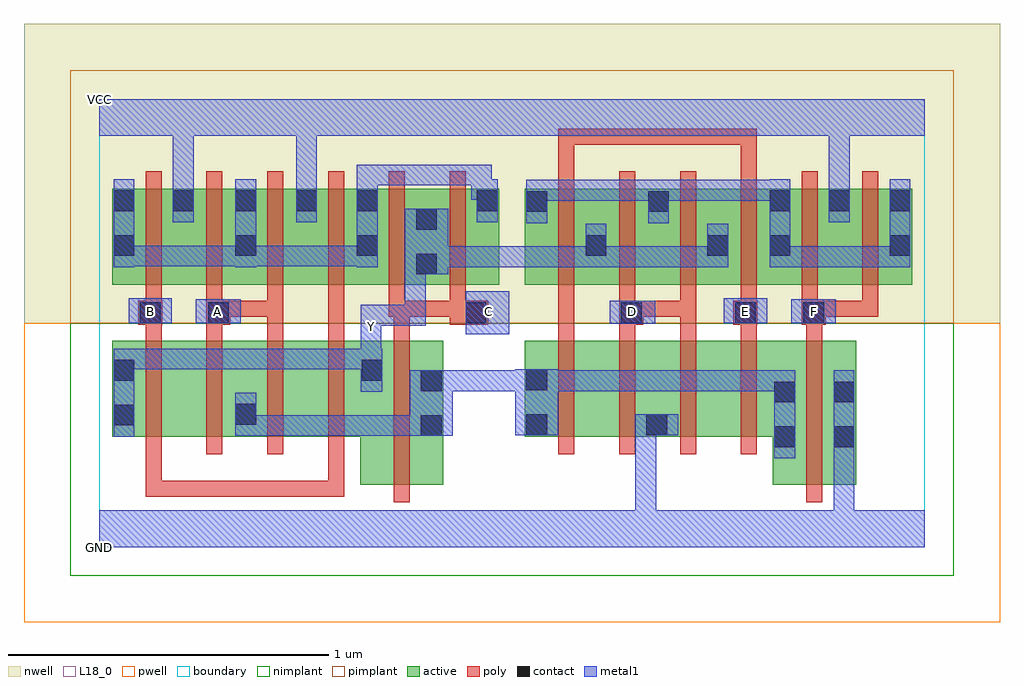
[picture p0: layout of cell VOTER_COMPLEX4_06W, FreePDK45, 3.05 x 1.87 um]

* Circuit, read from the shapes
.subckt VOTER_COMPLEX4_06W A B C D E F GND VCC Y
M1 n1 B Y VSUBS nfet w=0.3u l=0.05u
M2 n2 A n1 VSUBS nfet w=0.3u l=0.05u
M3 n3 A n2 VSUBS nfet w=0.3u l=0.05u
M4 Y B n3 VSUBS nfet w=0.3u l=0.05u
M5 n2 C Y VSUBS nfet w=0.45u l=0.05u
M6 n4 E n2 VSUBS nfet w=0.3u l=0.05u
M7 GND D n4 VSUBS nfet w=0.3u l=0.05u
M8 n5 D GND VSUBS nfet w=0.3u l=0.05u
M9 n2 E n5 VSUBS nfet w=0.3u l=0.05u
M10 GND F n2 VSUBS nfet w=0.45u l=0.05u
M11 VCC B n6 n7 pfet w=0.3u l=0.05u m=2
M12 n6 A VCC n7 pfet w=0.3u l=0.05u m=2
M13 Y C n6 n7 pfet w=0.3u l=0.05u m=2
M14 Y E n8 n7 pfet w=0.3u l=0.05u m=2
M15 n8 D Y n7 pfet w=0.3u l=0.05u m=2
M16 VCC F n8 n7 pfet w=0.3u l=0.05u m=2
.ends

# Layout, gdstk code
import gdstk
lib = gdstk.Library(unit=1e-6, precision=1e-09)
def R(c, l, rs):  # rectangles x0, y0, x1, y1
    for r in rs: c.add(gdstk.rectangle(r[:2], r[2:], *l))
def A(c, l, x, y, w, h, nx, ny, dx, dy):  # array of equal rectangles
    R(c, l, [(x+i*dx, y+j*dy, x+i*dx+w, y+j*dy+h) for i in range(nx) for j in range(ny)])
active = (1, 0)
pwell = (2, 0)
nwell = (3, 0)
nimplant = (4, 0)
pimplant = (5, 0)
poly = (9, 0)
contact = (10, 0)
metal1 = (11, 0)
L18_0 = (18, 0)
boundary = (235, 0)

voter_complex4_06w = lib.new_cell('VOTER_COMPLEX4_06W')
A(voter_complex4_06w, active, 0.42, 0.82, 0.075, 0.3, 3, 1, 0.19, 0)
A(voter_complex4_06w, active, 1.33, 0.82, 0.26, 0.3, 3, 1, 0.38, 0)
R(voter_complex4_06w, active, [(0.815,0.195,1.075,0.645), (1,0.195,1.075,0.645), (2.105,0.195,2.365,0.645), (2.29,0.195,2.365,0.645), (2.105,0.2,2.18,0.522), (0.815,0.33,0.89,0.59), (0.04,0.345,0.265,0.645), (0.04,0.345,0.115,0.645), (0.265,0.345,0.495,0.645), (0.42,0.345,0.645,0.645), (0.42,0.345,0.495,0.517), (0.645,0.345,0.89,0.645), (1.33,0.345,1.555,0.645), (1.33,0.345,1.405,0.645), (1.555,0.345,1.78,0.645), (1.705,0.345,1.935,0.645), (1.705,0.345,1.78,0.572), (1.935,0.345,2.18,0.645), (0.04,0.82,0.115,1.12), (0.04,0.82,0.3,1.12), (0.225,0.82,0.495,1.12), (0.42,0.82,0.685,1.12), (0.61,0.82,0.875,1.12), (0.8,0.82,1.06,1.12), (0.985,0.82,1.25,1.12), (1.175,0.82,1.25,1.12), (1.33,0.82,1.405,1.117), (1.515,0.82,1.785,1.12), (1.71,0.82,1.785,1.12), (1.895,0.82,2.165,1.12), (2.09,0.82,2.165,1.12), (2.275,0.82,2.54,1.12), (2.465,0.82,2.54,1.12), (0.225,0.827,0.3,1.12), (0.985,0.847,1.06,1.062), (2.275,0.852,2.35,1.12), (1.515,0.905,1.59,1.055), (1.895,0.905,1.97,1.055)])
R(voter_complex4_06w, pwell, [(-0.235,-0.235,2.815,0.7)])
R(voter_complex4_06w, nwell, [(-0.235,0.7,2.815,1.635)])
R(voter_complex4_06w, nimplant, [(-0.09,-0.09,2.67,0.7)])
R(voter_complex4_06w, pimplant, [(-0.09,0.7,2.67,1.49)])
A(voter_complex4_06w, poly, 0.145, 0.29, 0.05, 0.41, 4, 1, 0.19, 0)
A(voter_complex4_06w, poly, 1.435, 0.29, 0.05, 0.41, 4, 1, 0.19, 0)
A(voter_complex4_06w, poly, 0.145, 0.72, 0.05, 0.095, 3, 1, 0.19, 0)
A(voter_complex4_06w, poly, 1.435, 0.72, 0.05, 0.095, 6, 1, 0.19, 0)
A(voter_complex4_06w, poly, 0.145, 0.765, 0.05, 0.41, 6, 1, 0.19, 0)
A(voter_complex4_06w, poly, 1.435, 0.765, 0.05, 0.41, 6, 1, 0.19, 0)
R(voter_complex4_06w, poly, [(0.92,0.14,0.97,0.7), (2.21,0.14,2.26,0.7), (0.145,0.157,0.195,0.207), (0.145,0.157,0.195,0.207), (0.145,0.157,0.195,0.207), (0.145,0.157,0.195,0.34), (0.145,0.157,0.442,0.207), (0.392,0.157,0.442,0.207), (0.392,0.157,0.442,0.207), (0.392,0.157,0.442,0.207), (0.392,0.157,0.632,0.207), (0.582,0.157,0.632,0.207), (0.582,0.157,0.765,0.207), (0.715,0.157,0.765,0.207), (0.715,0.157,0.765,0.207), (0.715,0.157,0.765,0.207), (0.715,0.157,0.765,0.34), (0.145,0.65,0.195,0.745), (0.335,0.65,0.385,0.745), (0.525,0.65,0.575,0.77), (0.715,0.65,0.765,0.745), (0.92,0.65,0.97,0.77), (1.435,0.65,1.485,0.77), (1.625,0.65,1.675,0.745), (1.815,0.65,1.865,0.77), (2.005,0.65,2.055,0.745), (2.21,0.65,2.26,0.745), (0.122,0.695,0.197,0.77), (0.335,0.695,0.41,0.77), (0.715,0.695,0.765,0.745), (0.715,0.695,0.765,0.815), (1.095,0.695,1.215,0.77), (1.625,0.695,1.7,0.77), (1.982,0.695,2.057,0.77), (2.195,0.695,2.27,0.77), (0.36,0.72,0.41,0.77), (0.36,0.72,0.41,0.77), (0.36,0.72,0.575,0.77), (0.525,0.72,0.575,0.77), (0.905,0.72,0.955,0.815), (0.905,0.72,0.97,0.77), (0.92,0.72,0.97,0.77), (0.92,0.72,0.97,0.77), (0.92,0.72,1.145,0.77), (1.095,0.72,1.145,0.815), (1.435,0.72,1.485,0.77), (1.65,0.72,1.865,0.77), (1.815,0.72,1.865,0.77), (1.815,0.72,1.865,0.77), (1.815,0.72,1.865,0.77), (2.22,0.72,2.435,0.77), (2.385,0.72,2.435,0.77), (2.385,0.72,2.435,0.77), (2.385,0.72,2.435,0.77), (1.435,1.125,1.485,1.307), (2.005,1.125,2.055,1.307), (1.435,1.257,1.485,1.307), (1.435,1.257,1.485,1.307), (1.435,1.257,1.485,1.307), (1.435,1.257,1.617,1.307), (1.567,1.257,1.617,1.307), (1.567,1.257,1.617,1.307), (1.567,1.257,1.617,1.307), (1.567,1.257,1.832,1.307), (1.782,1.257,1.832,1.307), (1.782,1.257,2.055,1.307), (2.005,1.257,2.055,1.307), (2.005,1.257,2.055,1.307), (2.005,1.257,2.055,1.307)])
A(voter_complex4_06w, contact, 0.045, 0.91, 0.065, 0.065, 3, 1, 0.38, 0)
A(voter_complex4_06w, contact, 0.425, 1.05, 0.065, 0.065, 3, 1, 0.19, 0)
R(voter_complex4_06w, contact, [(2.11,0.312,2.175,0.377), (2.295,0.312,2.36,0.377), (1.005,0.347,1.07,0.412), (1.335,0.35,1.4,0.415), (1.71,0.35,1.775,0.415), (0.045,0.38,0.11,0.445), (0.425,0.382,0.49,0.447), (2.11,0.452,2.175,0.517), (2.295,0.452,2.36,0.517), (1.005,0.487,1.07,0.552), (1.335,0.49,1.4,0.555), (0.045,0.52,0.11,0.585), (0.82,0.52,0.885,0.585), (0.127,0.7,0.192,0.765), (0.34,0.7,0.405,0.765), (1.145,0.7,1.21,0.765), (1.63,0.7,1.695,0.765), (1.987,0.7,2.052,0.765), (2.2,0.7,2.265,0.765), (0.99,0.852,1.055,0.917), (1.52,0.91,1.585,0.975), (1.9,0.91,1.965,0.975), (2.095,0.91,2.16,0.975), (2.47,0.91,2.535,0.975), (0.99,0.992,1.055,1.057), (1.335,1.047,1.4,1.112), (1.715,1.047,1.78,1.112), (0.045,1.05,0.11,1.115), (0.23,1.05,0.295,1.115), (1.18,1.05,1.245,1.115), (2.095,1.05,2.16,1.115), (2.28,1.05,2.345,1.115), (2.47,1.05,2.535,1.115)])
A(voter_complex4_06w, metal1, 0.045, 0.875, 0.065, 0.275, 3, 1, 0.38, 0)
R(voter_complex4_06w, metal1, [(0,0,2.58,0.115), (1.675,0.05,1.74,0.415), (2.295,0.05,2.36,0.115), (2.295,0.05,2.36,0.115), (2.295,0.05,2.36,0.342), (2.11,0.277,2.175,0.552), (2.295,0.277,2.36,0.552), (0.045,0.345,0.11,0.62), (0.425,0.347,0.49,0.412), (0.425,0.347,0.49,0.412), (0.425,0.347,0.49,0.482), (0.425,0.347,0.627,0.412), (0.562,0.347,0.627,0.412), (0.562,0.347,0.627,0.412), (0.562,0.347,0.627,0.412), (0.562,0.347,0.882,0.412), (0.817,0.347,0.882,0.412), (0.817,0.347,0.882,0.412), (0.817,0.347,0.882,0.412), (0.817,0.347,1.035,0.412), (0.97,0.347,1.105,0.552), (1.3,0.35,1.435,0.555), (1.675,0.35,1.74,0.415), (1.675,0.35,1.74,0.415), (1.675,0.35,1.74,0.415), (1.675,0.35,1.74,0.415), (1.675,0.35,1.81,0.415), (0.817,0.485,0.885,0.62), (1.04,0.487,1.105,0.552), (1.04,0.487,1.105,0.552), (1.04,0.487,1.105,0.552), (1.04,0.487,1.105,0.552), (1.04,0.487,1.245,0.552), (1.18,0.487,1.245,0.552), (1.18,0.487,1.365,0.552), (1.37,0.487,1.435,0.552), (1.37,0.487,1.435,0.552), (1.37,0.487,1.572,0.552), (1.507,0.487,1.572,0.552), (1.507,0.487,1.572,0.552), (1.507,0.487,1.572,0.552), (1.507,0.487,1.827,0.552), (1.762,0.487,1.827,0.552), (1.762,0.487,1.827,0.552), (1.762,0.487,1.827,0.552), (1.762,0.487,2.022,0.552), (1.957,0.487,2.022,0.552), (1.957,0.487,2.022,0.552), (1.957,0.487,2.022,0.552), (1.957,0.487,2.175,0.552), (0.045,0.555,0.11,0.62), (0.045,0.555,0.11,0.62), (0.045,0.555,0.247,0.62), (0.182,0.555,0.247,0.62), (0.182,0.555,0.247,0.62), (0.182,0.555,0.247,0.62), (0.182,0.555,0.47,0.62), (0.405,0.555,0.47,0.62), (0.405,0.555,0.47,0.62), (0.405,0.555,0.47,0.62), (0.405,0.555,0.732,0.62), (0.667,0.555,0.732,0.62), (0.667,0.555,0.732,0.62), (0.667,0.555,0.732,0.62), (0.667,0.555,0.882,0.62), (0.817,0.555,0.882,0.687), (0.817,0.622,0.882,0.757), (1.145,0.665,1.282,0.8), (0.817,0.692,0.882,0.757), (0.817,0.692,0.882,0.757), (0.817,0.692,1.02,0.757), (0.955,0.692,1.02,0.757), (0.955,0.692,1.02,0.917), (1.595,0.697,1.737,0.77), (0.092,0.7,0.227,0.777), (0.302,0.7,0.442,0.775), (1.952,0.7,2.087,0.777), (2.162,0.7,2.302,0.775), (0.955,0.852,1.09,1.057), (1.025,0.875,1.227,0.94), (1.162,0.875,1.227,0.94), (1.162,0.875,1.245,0.94), (1.18,0.875,1.245,0.94), (1.18,0.875,1.42,0.94), (1.355,0.875,1.42,0.94), (1.355,0.875,1.42,0.94), (1.355,0.875,1.42,0.94), (1.355,0.875,1.585,0.94), (1.52,0.875,1.585,0.94), (1.52,0.875,1.585,0.94), (1.52,0.875,1.585,1.01), (1.52,0.875,1.75,0.94), (1.685,0.875,1.75,0.94), (1.685,0.875,1.75,0.94), (1.685,0.875,1.75,0.94), (1.685,0.875,1.965,0.94), (1.9,0.875,1.965,1.01), (2.095,0.875,2.16,1.15), (2.095,0.875,2.16,0.94), (2.095,0.875,2.16,0.94), (2.095,0.875,2.16,0.94), (2.095,0.875,2.16,0.94), (2.095,0.875,2.297,0.94), (2.232,0.875,2.535,0.94), (2.232,0.875,2.297,0.94), (2.232,0.875,2.297,0.94), (2.232,0.875,2.297,0.94), (2.47,0.875,2.535,1.15), (0.045,0.877,0.11,0.942), (0.045,0.877,0.11,0.942), (0.045,0.877,0.332,0.942), (0.267,0.877,0.332,0.942), (0.267,0.877,0.332,0.942), (0.267,0.877,0.332,0.942), (0.267,0.877,0.49,0.942), (0.425,0.877,0.49,0.942), (0.425,0.877,0.49,0.942), (0.425,0.877,0.732,0.942), (0.667,0.877,0.732,0.942), (0.667,0.877,0.732,0.942), (0.667,0.877,0.732,0.942), (0.667,0.877,0.87,0.942), (1.335,1.012,1.4,1.147), (1.715,1.012,1.78,1.147), (0.23,1.015,0.295,1.15), (0.615,1.015,0.68,1.15), (1.18,1.015,1.245,1.15), (2.28,1.015,2.345,1.15), (1.335,1.082,1.4,1.147), (1.335,1.082,1.4,1.147), (1.335,1.082,1.572,1.147), (1.507,1.082,1.572,1.147), (1.507,1.082,1.572,1.147), (1.507,1.082,1.572,1.147), (1.507,1.082,1.78,1.147), (1.715,1.082,1.78,1.147), (1.715,1.082,1.78,1.147), (1.715,1.082,1.965,1.147), (1.9,1.082,1.965,1.147), (1.9,1.082,1.965,1.147), (1.9,1.082,1.965,1.147), (1.9,1.082,2.16,1.147), (0.23,1.085,0.295,1.15), (0.23,1.085,0.295,1.15), (0.23,1.085,0.295,1.35), (0.615,1.085,0.68,1.15), (0.615,1.085,0.68,1.15), (0.615,1.085,0.68,1.35), (0.805,1.085,0.87,1.195), (1.162,1.085,1.245,1.15), (1.162,1.085,1.227,1.195), (2.28,1.085,2.345,1.35), (0.805,1.13,0.87,1.195), (0.805,1.13,0.87,1.195), (0.805,1.13,0.87,1.195), (0.805,1.13,1.107,1.195), (1.042,1.13,1.107,1.195), (1.042,1.13,1.227,1.195), (0,1.285,2.58,1.4), (2.28,1.285,2.345,1.35), (2.28,1.285,2.345,1.35)])
R(voter_complex4_06w, L18_0, [(0,0,2.58,0.115), (1.675,0.05,1.74,0.415), (2.295,0.05,2.36,0.115), (2.295,0.05,2.36,0.115), (2.295,0.05,2.36,0.342), (2.295,0.277,2.36,0.552), (0.045,0.345,0.11,0.62), (1.675,0.35,1.74,0.415), (1.675,0.35,1.74,0.415), (1.675,0.35,1.74,0.415), (1.675,0.35,1.74,0.415), (1.675,0.35,1.81,0.415), (0.817,0.485,0.885,0.62), (0.045,0.555,0.11,0.62), (0.045,0.555,0.11,0.62), (0.045,0.555,0.247,0.62), (0.182,0.555,0.247,0.62), (0.182,0.555,0.247,0.62), (0.182,0.555,0.247,0.62), (0.182,0.555,0.47,0.62), (0.405,0.555,0.47,0.62), (0.405,0.555,0.47,0.62), (0.405,0.555,0.47,0.62), (0.405,0.555,0.732,0.62), (0.667,0.555,0.732,0.62), (0.667,0.555,0.732,0.62), (0.667,0.555,0.732,0.62), (0.667,0.555,0.882,0.62), (0.817,0.555,0.882,0.687), (0.817,0.622,0.882,0.757), (0.817,0.657,0.882,0.722), (1.145,0.665,1.282,0.8), (0.817,0.692,0.882,0.757), (0.817,0.692,0.882,0.757), (0.817,0.692,1.02,0.757), (0.955,0.692,1.02,0.757), (0.955,0.692,1.02,0.917), (1.595,0.697,1.737,0.77), (0.092,0.7,0.227,0.777), (0.302,0.7,0.442,0.775), (1.952,0.7,2.087,0.777), (2.162,0.7,2.302,0.775), (0.127,0.702,0.192,0.767), (0.337,0.702,0.402,0.767), (1.182,0.702,1.247,0.767), (1.632,0.702,1.697,0.767), (1.987,0.702,2.052,0.767), (2.202,0.702,2.267,0.767), (0.955,0.852,1.09,1.057), (1.025,0.875,1.227,0.94), (1.162,0.875,1.227,0.94), (1.162,0.875,1.245,0.94), (1.18,0.875,1.245,0.94), (1.18,0.875,1.42,0.94), (1.355,0.875,1.42,0.94), (1.355,0.875,1.42,0.94), (1.355,0.875,1.42,0.94), (1.355,0.875,1.585,0.94), (1.52,0.875,1.585,0.94), (1.52,0.875,1.585,0.94), (1.52,0.875,1.585,1.01), (1.52,0.875,1.75,0.94), (1.685,0.875,1.75,0.94), (1.685,0.875,1.75,0.94), (1.685,0.875,1.75,0.94), (1.685,0.875,1.965,0.94), (1.9,0.875,1.965,1.01), (0.23,1.015,0.295,1.15), (0.615,1.015,0.68,1.15), (2.28,1.015,2.345,1.15), (0.23,1.085,0.295,1.15), (0.23,1.085,0.295,1.15), (0.23,1.085,0.295,1.35), (0.615,1.085,0.68,1.15), (0.615,1.085,0.68,1.15), (0.615,1.085,0.68,1.35), (2.28,1.085,2.345,1.35), (0,1.285,2.58,1.4), (2.28,1.285,2.345,1.35), (2.28,1.285,2.345,1.35)])
R(voter_complex4_06w, boundary, [(0,0,2.58,1.4)])
voter_complex4_06w.add(gdstk.Label('A', (0.37,0.735), layer=11, texttype=0))
voter_complex4_06w.add(gdstk.Label('B', (0.16,0.735), layer=11, texttype=0))
voter_complex4_06w.add(gdstk.Label('C', (1.215,0.735), layer=11, texttype=0))
voter_complex4_06w.add(gdstk.Label('D', (1.665,0.735), layer=11, texttype=0))
voter_complex4_06w.add(gdstk.Label('E', (2.02,0.735), layer=11, texttype=0))
voter_complex4_06w.add(gdstk.Label('F', (2.235,0.735), layer=11, texttype=0))
voter_complex4_06w.add(gdstk.Label('Y', (0.85,0.69), layer=11, texttype=0))
voter_complex4_06w.add(gdstk.Label('VCC', (0,1.4), layer=11, texttype=0))
voter_complex4_06w.add(gdstk.Label('GND', (0,0), layer=11, texttype=0))

lib.write_gds('VOTER_COMPLEX4_06W.gds')
